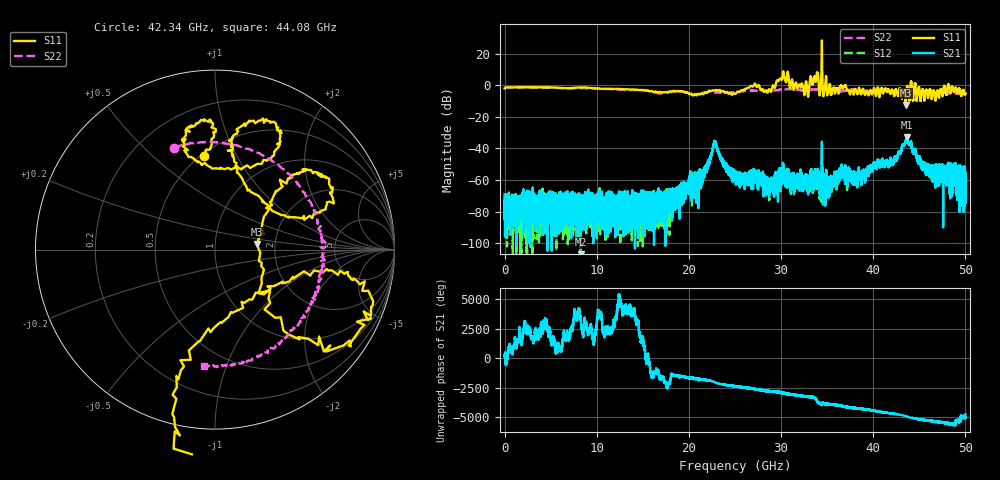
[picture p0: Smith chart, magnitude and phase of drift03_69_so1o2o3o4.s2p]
!Created with skrf (http://scikit-rf.org).
# Hz S RI R 50.0
!freq ReS11 ImS11 ReS21 ImS21 ReS12 ImS12 ReS22 ImS22
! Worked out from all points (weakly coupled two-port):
!   10000 points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, 5.3 MHz to 50 GHz, reference 50 ohm
!   highest |S21| = -32.78 dB at 43.66 GHz (marker M1); lowest = -109.0 dB at 8.24 GHz (marker M2)
!   lowest |S11| = -12.5 dB at 43.52 GHz (marker M3), VSWR 1.62, Z = 80.4 + j5.32 ohm
!   |S11| at or under -10 dB: 43.48241 GHz to 43.55359 GHz (71.18 MHz wide, 0.164 % of centre); 44.70972 GHz to 44.71036 GHz (640.6 kHz wide, 0.00143 % of centre)
!   |S22| runs from -5.9 to -1.3 dB; largest |S21 - S12| = 0.0066
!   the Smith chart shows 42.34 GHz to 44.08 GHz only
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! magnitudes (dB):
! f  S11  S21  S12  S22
! 5.3 MHz  -2.1  -69.0  -70.2  -2.1
! 630.3 MHz  -1.4  -82.7  -82.0  -1.5
! 8.24 GHz  -1.5  -109.0  -82.6  -1.9
! 8.34 GHz  -1.5  -87.2  -87.7  -1.9
! 16.67 GHz  -4.4  -77.7  -71.0  -5.2
! 21.23 GHz  -5.9  -57.9  -56.0  -5.3
! 22.82 GHz  -3.4  -35.4  -35.3  -4.5
! 25.01 GHz  -5.5  -58.9  -57.5  -4.3
! 27.01 GHz  -0.4  -61.4  -60.6  -3.5
! 28.89 GHz  -4.2  -63.5  -64.4  -3.5
! 30.14 GHz  4.5  -53.4  -54.7  -2.8
! 32.74 GHz  2.0  -58.5  -56.9  -3.3
! 33.34 GHz  2.7  -59.1  -54.7  -2.9
! 33.82 GHz  4.0  -64.2  -60.3  -2.5
! 35.28 GHz  0.3  -67.0  -62.3  -2.6
! 36.51 GHz  -0.5  -55.0  -54.1  -3.7
! 38.08 GHz  -2.5  -60.7  -55.8  -2.8
! 41.67 GHz  -2.8  -50.5  -49.5  -3.7
! 43.52 GHz  -12.5  -35.8  -35.7  -4.3
! 43.66 GHz  -0.6  -32.8  -33.4  -4.1
! 45.86 GHz  -4.8  -51.7  -50.1  -5.1
! 50 GHz  -5.2  -61.3  -58.0  -5.0
